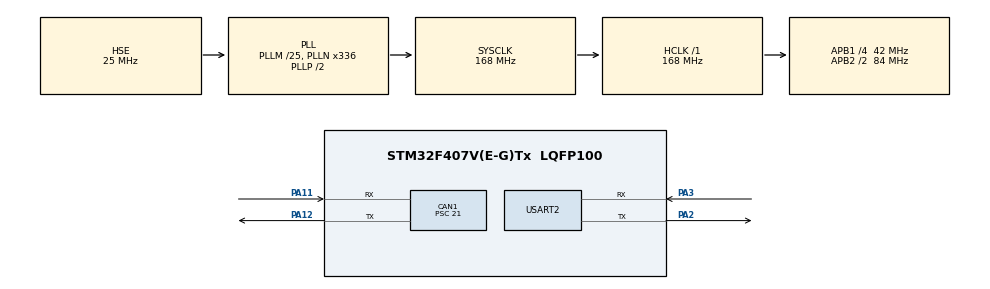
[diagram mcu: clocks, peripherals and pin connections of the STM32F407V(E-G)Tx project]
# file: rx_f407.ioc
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CAN1.BS1=CAN_BS1_13TQ
CAN1.BS2=CAN_BS2_2TQ
CAN1.CalculateBaudRate=125000
CAN1.CalculateTimeBit=8000
CAN1.CalculateTimeQuantum=500.0
CAN1.Prescaler=21
Mcu.Family=STM32F4
Mcu.Name=STM32F407V(E-G)Tx
Mcu.Package=LQFP100
NVIC.CAN1_RX0_IRQn=true\:0\:0\:false\:false\:true\:true\:true\:true
NVIC.PriorityGroup=NVIC_PRIORITYGROUP_4
PA11.Mode=CAN_Activate
PA11.Signal=CAN1_RX
PA12.Mode=CAN_Activate
PA12.Signal=CAN1_TX
PA2.Mode=Asynchronous
PA2.Signal=USART2_TX
PA3.Mode=Asynchronous
PA3.Signal=USART2_RX
PH0-OSC_IN.Mode=HSE-External-Oscillator
PH0-OSC_IN.Signal=RCC_OSC_IN
PH1-OSC_OUT.Mode=HSE-External-Oscillator
PH1-OSC_OUT.Signal=RCC_OSC_OUT
ProjectManager.HeapSize=0x200
ProjectManager.StackSize=0x400
ProjectManager.TargetToolchain=STM32CubeIDE
RCC.48MHZClocksFreq_Value=84000000
RCC.AHBFreq_Value=168000000
RCC.APB1CLKDivider=RCC_HCLK_DIV4
RCC.APB1Freq_Value=42000000
RCC.APB1TimFreq_Value=84000000
RCC.APB2CLKDivider=RCC_HCLK_DIV2
RCC.APB2Freq_Value=84000000
RCC.APB2TimFreq_Value=168000000
RCC.CortexFreq_Value=168000000
RCC.HCLKFreq_Value=168000000
RCC.HSE_VALUE=25000000
RCC.HSI_VALUE=16000000
RCC.LSE_VALUE=32768
RCC.PLLM=25
RCC.PLLN=336
RCC.PLLSourceVirtual=RCC_PLLSOURCE_HSE
RCC.SYSCLKFreq_VALUE=168000000
RCC.SYSCLKSource=RCC_SYSCLKSOURCE_PLLCLK
RCC.VCOOutputFreq_Value=336000000
USART2.VirtualMode=VM_ASYNC
board=custom

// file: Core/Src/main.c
/* USER CODE BEGIN Header */
/**
  ******************************************************************************
  * @file           : main.c
  * @brief          : CAN Receiver + UART2 Logger
  *
  * Chức năng:
  * - Nhận frame từ CAN1
  * - Giải mã ID theo room/bed
  * - Giải mã payload 4 byte:
  *     byte0 = HR
  *     byte1 = SpO2
  *     byte2 = temp_x10 low
  *     byte3 = temp_x10 high
  * - In kết quả ra UART2 ở baudrate 115200
  *
  ******************************************************************************
  */
/* USER CODE END Header */

#include "main.h"

/* USER CODE BEGIN Includes */
#include <stdio.h>
#include <string.h>
/* USER CODE END Includes */

/* USER CODE BEGIN PTD */

/* Struct lưu dữ liệu sau khi giải mã CAN */
typedef struct
{
  uint16_t can_id;
  uint8_t room;
  uint8_t bed;
  uint8_t hr;
  uint8_t spo2;
  int16_t temp_x10;
} PatientRxData_t;

/* USER CODE END PTD */

/* USER CODE BEGIN PD */

/* Độ dài buffer dùng để log UART2 */
#define UART_TX_BUF_SIZE 128

/* USER CODE END PD */

CAN_HandleTypeDef hcan1;
UART_HandleTypeDef huart2;

/* USER CODE BEGIN PV */

/* Buffer log UART2 */
static char uart_tx_buf[UART_TX_BUF_SIZE];

/* Biến lưu dữ liệu nhận gần nhất */
static PatientRxData_t g_rx_data;

/* USER CODE END PV */

void SystemClock_Config(void);
static void MX_GPIO_Init(void);
static void MX_CAN1_Init(void);
static void MX_USART2_UART_Init(void);

/* USER CODE BEGIN PFP */
static void UART2_Print(const char *msg);
static uint8_t CAN1_Filter_AllPass_Config(void);
static void Decode_CAN_To_Patient(uint16_t can_id, uint8_t data[8], PatientRxData_t *out);
/* USER CODE END PFP */

/* USER CODE BEGIN 0 */

/**
  * @brief  Gửi chuỗi log ra UART2
  */
static void UART2_Print(const char *msg)
{
  HAL_UART_Transmit(&huart2, (uint8_t *)msg, strlen(msg), HAL_MAX_DELAY);
}

/**
  * @brief  Cấu hình CAN filter nhận tất cả frame
  * @note   Dùng để test cho dễ. Sau này có thể lọc theo ID nếu muốn.
  */
static uint8_t CAN1_Filter_AllPass_Config(void)
{
  CAN_FilterTypeDef filter = {0};

  filter.FilterActivation = ENABLE;
  filter.FilterBank = 0;
  filter.FilterFIFOAssignment = CAN_FILTER_FIFO0;

  /* Nhận tất cả */
  filter.FilterIdHigh = 0x0000;
  filter.FilterIdLow = 0x0000;
  filter.FilterMaskIdHigh = 0x0000;
  filter.FilterMaskIdLow = 0x0000;

  filter.FilterMode = CAN_FILTERMODE_IDMASK;
  filter.FilterScale = CAN_FILTERSCALE_32BIT;

  if (HAL_CAN_ConfigFilter(&hcan1, &filter) != HAL_OK)
  {
    return 0;
  }

  return 1;
}

/**
  * @brief  Giải mã frame CAN sang dữ liệu bệnh nhân
  * @param  can_id: Standard ID 11-bit
  * @param  data  : mảng data nhận từ CAN
  * @param  out   : struct output
  *
  * Quy ước:
  * ID = 0x100 | (room << 3) | bed
  * room = 5 bit
  * bed  = 3 bit
  *
  * payload 4 byte:
  * data[0] = hr
  * data[1] = spo2
  * data[2] = temp_x10 low
  * data[3] = temp_x10 high
  */
static void Decode_CAN_To_Patient(uint16_t can_id, uint8_t data[8], PatientRxData_t *out)
{
  out->can_id = can_id;
  out->room = (uint8_t)((can_id >> 3) & 0x1F);
  out->bed  = (uint8_t)(can_id & 0x07);

  out->hr   = data[0];
  out->spo2 = data[1];
  out->temp_x10 = (int16_t)((uint16_t)data[2] | ((uint16_t)data[3] << 8));
}

/**
  * @brief  Callback khi CAN FIFO0 có message mới
  */
void HAL_CAN_RxFifo0MsgPendingCallback(CAN_HandleTypeDef *hcan)
{
  CAN_RxHeaderTypeDef rxHeader;
  uint8_t rxData[8] = {0};

  if (HAL_CAN_GetRxMessage(hcan, CAN_RX_FIFO0, &rxHeader, rxData) != HAL_OK)
  {
    UART2_Print("CAN RX ERROR\r\n");
    return;
  }

  /* Chỉ xử lý Standard Data Frame có DLC = 4 */
  if ((rxHeader.IDE == CAN_ID_STD) &&
      (rxHeader.RTR == CAN_RTR_DATA) &&
      (rxHeader.DLC >= 4))
  {
    Decode_CAN_To_Patient(rxHeader.StdId, rxData, &g_rx_data);

    snprintf(uart_tx_buf, sizeof(uart_tx_buf),
             "RX CAN | ID=0x%03X Room=%u Bed=%u HR=%u SpO2=%u Temp=%.1f\r\n",
             g_rx_data.can_id,
             g_rx_data.room,
             g_rx_data.bed,
             g_rx_data.hr,
             g_rx_data.spo2,
             g_rx_data.temp_x10 / 10.0f);

    UART2_Print(uart_tx_buf);
  }
  else
  {
    snprintf(uart_tx_buf, sizeof(uart_tx_buf),
             "RX CAN | Unsupported frame IDE=%lu RTR=%lu DLC=%lu\r\n",
             (unsigned long)rxHeader.IDE,
             (unsigned long)rxHeader.RTR,
             (unsigned long)rxHeader.DLC);

    UART2_Print(uart_tx_buf);
  }
}

/* USER CODE END 0 */

int main(void)
{
  HAL_Init();
  SystemClock_Config();

  MX_GPIO_Init();
  MX_CAN1_Init();
  MX_USART2_UART_Init();

  /* USER CODE BEGIN 2 */

  UART2_Print("F407 CAN Receiver Start\r\n");
  UART2_Print("UART2 = 115200\r\n");
  UART2_Print("CAN1 = 125 kbps\r\n");

  /* Cấu hình filter nhận tất cả frame */
  if (!CAN1_Filter_AllPass_Config())
  {
    UART2_Print("CAN Filter Config Failed\r\n");
    Error_Handler();
  }

  /* Start CAN */
  if (HAL_CAN_Start(&hcan1) != HAL_OK)
  {
    UART2_Print("CAN Start Failed\r\n");
    Error_Handler();
  }

  /* Bật ngắt khi có message mới ở FIFO0 */
  if (HAL_CAN_ActivateNotification(&hcan1, CAN_IT_RX_FIFO0_MSG_PENDING) != HAL_OK)
  {
    UART2_Print("CAN Notification Failed\r\n");
    Error_Handler();
  }

  UART2_Print("CAN Receiver Ready\r\n");

  /* USER CODE END 2 */

  while (1)
  {
    /* USER CODE BEGIN WHILE */
    /* Không cần làm gì ở vòng lặp.
       Dữ liệu CAN được xử lý trong callback interrupt. */
    /* USER CODE END WHILE */

  }
}

void SystemClock_Config(void)
{
  RCC_OscInitTypeDef RCC_OscInitStruct = {0};
  RCC_ClkInitTypeDef RCC_ClkInitStruct = {0};

  __HAL_RCC_PWR_CLK_ENABLE();
  __HAL_PWR_VOLTAGESCALING_CONFIG(PWR_REGULATOR_VOLTAGE_SCALE1);

  RCC_OscInitStruct.OscillatorType = RCC_OSCILLATORTYPE_HSE;
  RCC_OscInitStruct.HSEState = RCC_HSE_ON;
  RCC_OscInitStruct.PLL.PLLState = RCC_PLL_ON;
  RCC_OscInitStruct.PLL.PLLSource = RCC_PLLSOURCE_HSE;
  RCC_OscInitStruct.PLL.PLLM = 25;
  RCC_OscInitStruct.PLL.PLLN = 336;
  RCC_OscInitStruct.PLL.PLLP = RCC_PLLP_DIV2;
  RCC_OscInitStruct.PLL.PLLQ = 4;
  if (HAL_RCC_OscConfig(&RCC_OscInitStruct) != HAL_OK)
  {
    Error_Handler();
  }

  RCC_ClkInitStruct.ClockType = RCC_CLOCKTYPE_HCLK|RCC_CLOCKTYPE_SYSCLK
                              |RCC_CLOCKTYPE_PCLK1|RCC_CLOCKTYPE_PCLK2;
  RCC_ClkInitStruct.SYSCLKSource = RCC_SYSCLKSOURCE_PLLCLK;
  RCC_ClkInitStruct.AHBCLKDivider = RCC_SYSCLK_DIV1;
  RCC_ClkInitStruct.APB1CLKDivider = RCC_HCLK_DIV4;   /* 42 MHz */
  RCC_ClkInitStruct.APB2CLKDivider = RCC_HCLK_DIV2;   /* 84 MHz */

  if (HAL_RCC_ClockConfig(&RCC_ClkInitStruct, FLASH_LATENCY_5) != HAL_OK)
  {
    Error_Handler();
  }
}

static void MX_CAN1_Init(void)
{
  hcan1.Instance = CAN1;
  hcan1.Init.Prescaler = 21;
  hcan1.Init.Mode = CAN_MODE_NORMAL;
  hcan1.Init.SyncJumpWidth = CAN_SJW_1TQ;
  hcan1.Init.TimeSeg1 = CAN_BS1_13TQ;
  hcan1.Init.TimeSeg2 = CAN_BS2_2TQ;
  hcan1.Init.TimeTriggeredMode = DISABLE;

  /* Bên nhận vẫn nên bật để bus ổn định hơn */
  hcan1.Init.AutoBusOff = ENABLE;
  hcan1.Init.AutoWakeUp = DISABLE;
  hcan1.Init.AutoRetransmission = ENABLE;

  hcan1.Init.ReceiveFifoLocked = DISABLE;
  hcan1.Init.TransmitFifoPriority = DISABLE;

  if (HAL_CAN_Init(&hcan1) != HAL_OK)
  {
    Error_Handler();
  }
}

static void MX_USART2_UART_Init(void)
{
  huart2.Instance = USART2;
  huart2.Init.BaudRate = 115200;
  huart2.Init.WordLength = UART_WORDLENGTH_8B;
  huart2.Init.StopBits = UART_STOPBITS_1;
  huart2.Init.Parity = UART_PARITY_NONE;
  huart2.Init.Mode = UART_MODE_TX_RX;
  huart2.Init.HwFlowCtl = UART_HWCONTROL_NONE;
  huart2.Init.OverSampling = UART_OVERSAMPLING_16;

  if (HAL_UART_Init(&huart2) != HAL_OK)
  {
    Error_Handler();
  }
}

static void MX_GPIO_Init(void)
{
  __HAL_RCC_GPIOH_CLK_ENABLE();
  __HAL_RCC_GPIOA_CLK_ENABLE();
}

/* USER CODE BEGIN 4 */
/* Không cần thêm gì ở đây */
/* USER CODE END 4 */

void Error_Handler(void)
{
  __disable_irq();
  while (1)
  {
  }
}
